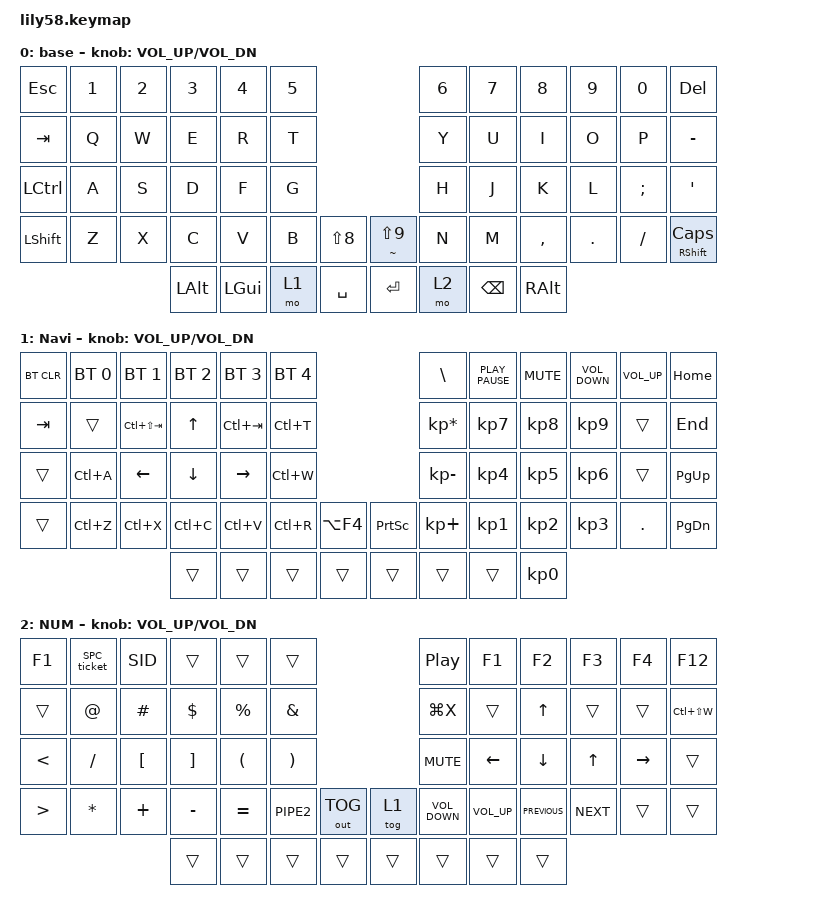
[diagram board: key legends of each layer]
/*
 * Copyright (c) 2020 The ZMK Contributors
 *
 * SPDX-License-Identifier: MIT
 */

#include <behaviors.dtsi>
#include <dt-bindings/zmk/keys.h>
#include <dt-bindings/zmk/bt.h>
#include <dt-bindings/zmk/ext_power.h>
#include <dt-bindings/zmk/outputs.h>

/ {
    macros {
        SPC_ticket: SPC_ticket {
            compatible = "zmk,behavior-macro";
            #binding-cells = <0>;
            bindings = <&kp LC(C) &kp LC(T) &kp S &kp P &kp C &kp SPACE &kp LC(V) &kp ENTER>;
            label = "SPC_ticket";
        };

        SID: SID {
            compatible = "zmk,behavior-macro";
            #binding-cells = <0>;
            bindings = <&kp LC(C) &kp LC(T) &kp S &kp I &kp D &kp SPACE &kp LC(V) &kp ENTER>;
            label = "SID";
        };
    };

    combos {
        compatible = "zmk,combos";

        Combo_1 {
            bindings = <&mo 3>;
            key-positions = <14 15 16>;
        };

        Combo_3 {
            bindings = <&mo 4>;
            key-positions = <19 20 21>;
        };
    };

    keymap {
        compatible = "zmk,keymap";

        default_layer {
            display-name = "base";
// ------------------------------------------------------------------------------------------------------------
// |  ESC  |  1  |  2  |  3   |  4   |  5   |                   |  6   |  7    |  8    |  9   |   0   |   `   |
// |  TAB  |  Q  |  W  |  E   |  R   |  T   |                   |  Y   |  U    |  I    |  O   |   P   |   -   |
// |  CTRL |  A  |  S  |  D   |  F   |  G   |                   |  H   |  J    |  K    |  L   |   ;   |   '   |
// | SHIFT |  Z  |  X  |  C   |  V   |  B   |   "["  |  |  "]"  |  N   |  M    |  ,    |  .   |   /   | SHIFT |
//                     | ALT  | GUI  | LOWER|  SPACE |  | ENTER | RAISE| BSPC  | GUI   |
            bindings = <
&kp ESC    &kp N1  &kp N2  &kp N3    &kp N4    &kp N5                                  &kp N6  &kp N7    &kp N8         &kp N9   &kp N0    &kp DELETE
&kp TAB    &kp Q   &kp W   &kp E     &kp R     &kp T                                   &kp Y   &kp U     &kp I          &kp O    &kp P     &kp MINUS
&kp LCTRL  &kp A   &kp S   &kp D     &kp F     &kp G                                   &kp H   &kp J     &kp K          &kp L    &kp SEMI  &kp SQT
&kp LSHFT  &kp Z   &kp X   &kp C     &kp V     &kp B   &kp LS(N8)    &mt TILDE LS(N9)  &kp N   &kp M     &kp COMMA      &kp DOT  &kp FSLH  &mt RIGHT_SHIFT CAPS
                           &kp LALT  &kp LGUI  &mo 1   &kp SPACE     &kp RET           &mo 2   &kp BSPC  &kp RIGHT_ALT
            >;

            sensor-bindings = <&inc_dec_kp C_VOL_UP C_VOL_DN>;
        };

        lower_layer {
            display-name = "Navi";
// ------------------------------------------------------------------------------------------------------------
// | BTCLR | BT1 | BT2 |  BT3 |  BT4 |  BT5 |                   |      |       |       |      |       |       |
// |  F1   |  F2 |  F3 |  F4  |  F5  |  F6  |                   |  F7  |  F8   |  F9   |  F10 |  F11  |  F12  |
// |   `   |  !  |  @  |  #   |  $   |  %   |                   |  ^   |  &    |  *    |  (   |   )   |   ~   |
// |       |     |     |      |      |      |        |  |       |      |  _    |  +    |  {   |   }   |  "|"  |
//                     |      |      |      |        |  |       |      |       |       |
            bindings = <
&bt BT_CLR  &bt BT_SEL 0  &bt BT_SEL 1     &bt BT_SEL 2    &bt BT_SEL 3     &bt BT_SEL 4                                 &kp BSLH         &kp K_PLAY_PAUSE  &kp K_MUTE       &kp C_VOLUME_DOWN  &kp C_VOLUME_UP  &kp HOME
&kp TAB     &trans        &kp LC(LS(TAB))  &kp UP_ARROW    &kp LC(TAB)      &kp LC(T)                                    &kp KP_MULTIPLY  &kp KP_NUMBER_7   &kp KP_NUMBER_8  &kp KP_NUMBER_9    &trans           &kp END
&trans      &kp LC(A)     &kp LEFT_ARROW   &kp DOWN_ARROW  &kp RIGHT_ARROW  &kp LC(W)                                    &kp KP_SUBTRACT  &kp KP_NUMBER_4   &kp KP_NUMBER_5  &kp KP_NUMBER_6    &trans           &kp PAGE_UP
&trans      &kp LC(Z)     &kp LC(X)        &kp LC(C)       &kp LC(V)        &kp LC(R)     &kp LA(F4)    &kp PRINTSCREEN  &kp KP_PLUS      &kp KP_NUMBER_1   &kp KP_NUMBER_2  &kp KP_NUMBER_3    &kp PERIOD       &kp PAGE_DOWN
                                           &trans          &trans           &trans        &trans        &trans           &trans           &trans            &kp KP_NUMBER_0
            >;

            sensor-bindings = <&inc_dec_kp C_VOL_UP C_VOL_DN>;
        };

        raise_layer {
            display-name = "NUM";
// ------------------------------------------------------------------------------------------------------------
// |       |     |     |      |      |      |                   |      |       |       |      |       |       |
// |   `   |  1  |  2  |  3   |  4   |  5   |                   |  6   |   7   |   8   |  9   |   0   |       |
// |   F1  |  F2 |  F3 |  F4  |  F5  |  F6  |                   |      |   <-  |   v   |  ^   |  ->   |       |
// |   F7  |  F8 |  F9 |  F10 |  F11 |  F12 |        |  |       |  +   |   -   |   =   |  [   |   ]   |   \   |
//                     |      |      |      |        |  |       |      |       |       |
            bindings = <
&kp F1  &SPC_ticket  &SID              &trans             &trans                &trans                                         &kp C_PLAY_PAUSE   &kp F1           &kp F2          &kp F3      &kp F4     &kp F12
&trans  &kp AT       &kp HASH          &kp DOLLAR         &kp PERCENT           &kp AMPERSAND                                  &kp LG(X)          &trans           &kp UP_ARROW    &trans      &trans     &kp LC(LS(W))
&kp LT  &kp SLASH    &kp LEFT_BRACKET  &kp RIGHT_BRACKET  &kp LEFT_PARENTHESIS  &kp RIGHT_PARENTHESIS                          &kp K_MUTE         &kp LEFT         &kp DOWN        &kp UP      &kp RIGHT  &trans
&kp GT  &kp STAR     &kp PLUS          &kp MINUS          &kp EQUAL             &kp PIPE2              &out OUT_TOG    &tog 1  &kp C_VOLUME_DOWN  &kp C_VOLUME_UP  &kp C_PREVIOUS  &kp C_NEXT  &trans     &trans
                                       &trans             &trans                &trans                 &trans          &trans  &trans             &trans           &trans
            >;

            sensor-bindings = <&inc_dec_kp C_VOL_UP C_VOL_DN>;
        };
    };
};
